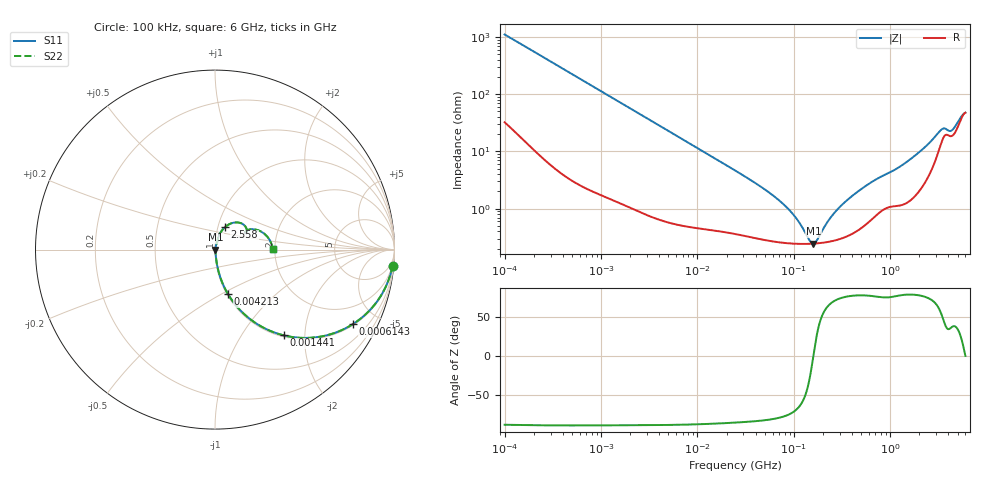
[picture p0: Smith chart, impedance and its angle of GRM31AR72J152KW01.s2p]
!Murata Part Number: GRM31AR72J152KW01
!These Parameters are Measured in Series Mode Connection
!Data Generated on Mar 30, 2021
!  o--ll--o
!Port1  Port2
!  o------o
!Operation Temp=25[degC], DC Bias Voltage=0[V]
!Freq. Start=100[kHz] Stop=6[GHz] 401[Steps]
# Hz S RI R 50
!Freq.(Hz) S11(Real) S11(Imag) S21(Real) S21(Imag) S12(Real) S12(Imag) S22(Real) S22(Imag)
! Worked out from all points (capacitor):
!   401 points, 100 kHz to 6 GHz, reference 50 ohm
!   read as one part in series: C = 1.43 nF near 105.7 kHz
!   lowest |Z| = 245 mohm at 159 MHz (marker M1)
!   series resonance near 158.9 MHz, so ESL is about 700 pH
!   S11 on the Smith chart (normalised r, x): 100 kHz: 2, -22; 614.3 kHz: 1.05, -3.66; 1.441 MHz: 1.03, -1.57; 4.213 MHz: 1.01, -0.54; 2.558 GHz: 1.08, +0.27; 6 GHz: 1.95, +0.00
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100000  0.9894 -0.089  0.0106 0.089  0.0106 0.089  0.9894 -0.089
300480  0.9298 -0.2479  0.0702 0.2479  0.0702 0.2479  0.9298 -0.2479
614320  0.7673 -0.4157  0.2327 0.4157  0.2327 0.4157  0.7673 -0.4157
631452  0.7576 -0.4217  0.2424 0.4217  0.2424 0.4217  0.7576 -0.4217
1441125  0.3835 -0.4779  0.6165 0.4779  0.6165 0.4779  0.3835 -0.4779
2364387  0.1925 -0.3848  0.8075 0.3848  0.8075 0.3848  0.1925 -0.3848
3987316  0.0807 -0.2614  0.9193 0.2614  0.9193 0.2614  0.0807 -0.2614
4212806  0.0734 -0.2495  0.9266 0.2495  0.9266 0.2495  0.0734 -0.2495
2.517799e7  0.0056 -0.0449  0.9944 0.0449  0.9944 0.0449  0.0056 -0.0449
7.993314e7  0.00264 -0.0112  0.9974 0.0112  0.9974 0.0112  0.00264 -0.0112
1.0524e8  0.00248 -0.00641  0.9975 0.00641  0.9975 0.00641  0.00248 -0.00641
1.546735e8  0.00244 -0.000412  0.9976 0.000412  0.9976 0.000412  0.00244 -0.000412
1.589869e8  0.00245 4.7e-06  0.9976 -4.7e-06  0.9976 -4.7e-06  0.00245 4.7e-06
2.401829e8  0.00272 0.00645  0.9973 -0.00645  0.9973 -0.00645  0.00272 0.00645
3.250433e8  0.00323 0.0118  0.9968 -0.0118  0.9968 -0.0118  0.00323 0.0118
5.634414e8  0.00595 0.0246  0.9941 -0.0246  0.9941 -0.0246  0.00595 0.0246
9.76689e8  0.0122 0.0405  0.9878 -0.0405  0.9878 -0.0405  0.0122 0.0405
2.55767e9  0.0554 0.1247  0.9446 -0.1247  0.9446 -0.1247  0.0554 0.1247
3.367428e9  0.147 0.1462  0.853 -0.1462  0.853 -0.1462  0.147 0.1462
4.19625e9  0.1666 0.0936  0.8334 -0.0936  0.8334 -0.0936  0.1666 0.0936
4.949184e9  0.2211 0.1127  0.7789 -0.1127  0.7789 -0.1127  0.2211 0.1127
6e9  0.3228 0.000736  0.6772 -0.000736  0.6772 -0.000736  0.3228 0.000736
